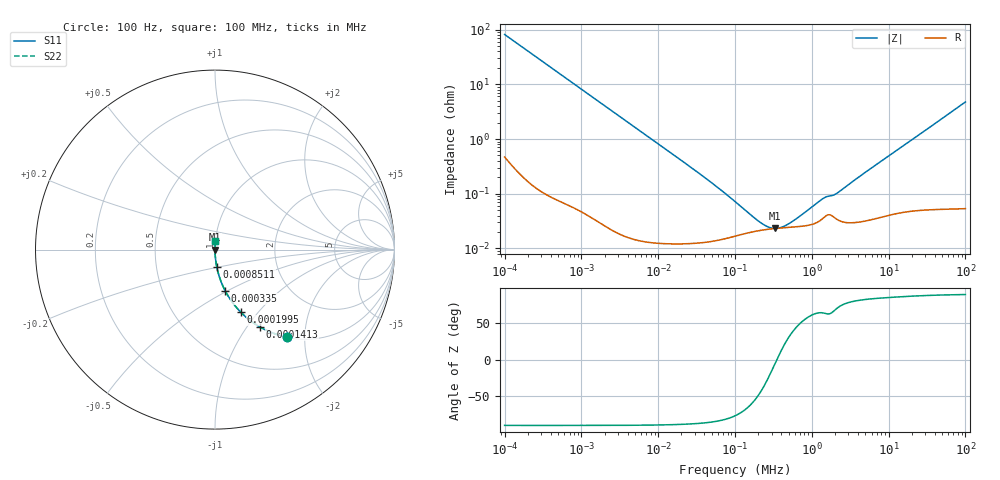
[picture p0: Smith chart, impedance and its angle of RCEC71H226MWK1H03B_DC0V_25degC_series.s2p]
!Murata Part Number: RCEC71H226MWK1H03B
!These Parameters are Measured in Series Mode Connection
!  o--ll--o
!Port1  Port2
!  o------o
!Operation Temp=25[degC], DC Bias Voltage=0[V]
!Freq. Start=100[Hz] Stop=100[MHz], 401[Steps]
!Data Generated on Feb 18, 2020
# Hz S RI R 50
!Freq.(Hz) S11(Real) S11(Imag) S21(Real) S21(Imag) S12(Real) S12(Imag) S22(Real) S22(Imag)
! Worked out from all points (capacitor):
!   401 points, 100 Hz to 100 MHz, reference 50 ohm
!   read as one part in series: C = 19.6 uF near 107.2 Hz
!   lowest |Z| = 23.2 mohm at 335 kHz (marker M1)
!   series resonance near 349.7 kHz, so ESL is about 11 nH
!   S11 on the Smith chart (normalised r, x): 100 Hz: 1.01, -1.63; 141.3 Hz: 1.01, -1.15; 199.5 Hz: 1.00, -0.82; 335 Hz: 1.00, -0.49; 851.1 Hz: 1.00, -0.19; 100 MHz: 1.00, +0.10
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100  0.3988 -0.4868  0.6012 0.4868  0.6012 0.4868  0.3988 -0.4868
141.2538  0.2502 -0.4308  0.7498 0.4308  0.7498 0.4308  0.2502 -0.4308
199.5262  0.1437 -0.3488  0.8563 0.3488  0.8563 0.3488  0.1437 -0.3488
334.9654  0.0566 -0.2291  0.9434 0.2291  0.9434 0.2291  0.0566 -0.2291
524.8075  0.0242 -0.1514  0.9758 0.1514  0.9758 0.1514  0.0242 -0.1514
851.138  0.00962 -0.0949  0.9904 0.0949  0.9904 0.0949  0.00962 -0.0949
1011.579  0.00693 -0.0801  0.9931 0.0801  0.9931 0.0801  0.00693 -0.0801
2570.396  0.00122 -0.0318  0.9988 0.0318  0.9988 0.0318  0.00122 -0.0318
10232.93  0.000188 -0.008  0.9998 0.008  0.9998 0.008  0.000188 -0.008
42169.65  0.000134 -0.00188  0.9999 0.00188  0.9999 0.00188  0.000134 -0.00188
100000  0.000168 -0.000701  0.9998 0.000701  0.9998 0.000701  0.000168 -0.000701
221309.5  0.000215 -0.000193  0.9998 0.000193  0.9998 0.000193  0.000215 -0.000193
272270.1  0.000224 -0.000102  0.9998 0.000102  0.9998 0.000102  0.000224 -0.000102
334965.4  0.000232 -1.71e-05  0.9998 1.71e-05  0.9998 1.71e-05  0.000232 -1.71e-05
398107.2  0.000237 5.16e-05  0.9998 -5.16e-05  0.9998 -5.16e-05  0.000237 5.16e-05
489778.8  0.000242 0.000136  0.9998 -0.000136  0.9998 -0.000136  0.000242 0.000136
1011579  0.000276 0.000507  0.9997 -0.000507  0.9997 -0.000507  0.000276 0.000507
1428894  0.000365 0.000748  0.9996 -0.000748  0.9996 -0.000748  0.000365 0.000748
2162719  0.000336 0.000981  0.9997 -0.000981  0.9997 -0.000981  0.000336 0.000981
1.023293e7  0.00043 0.00498  0.9996 -0.00498  0.9996 -0.00498  0.00043 0.00498
3.801894e7  0.00084 0.0181  0.9992 -0.0181  0.9992 -0.0181  0.00084 0.0181
1e8  0.00279 0.0474  0.9972 -0.0474  0.9972 -0.0474  0.00279 0.0474
